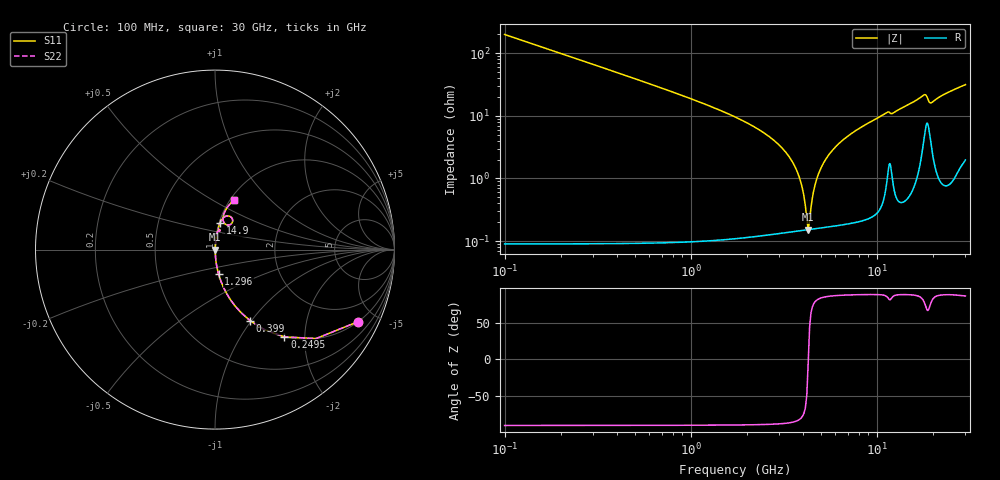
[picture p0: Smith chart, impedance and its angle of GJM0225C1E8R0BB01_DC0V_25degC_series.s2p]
!Murata Part Number: GJM0225C1E8R0BB01
!These Parameters are Measured in Series Mode Connection
!  o--ll--o
!Port1  Port2
!  o------o
!Operation Temp=25[degC], DC Bias Voltage=0[V]
!Freq. Start=100[MHz] Stop=30[GHz], 401[Steps]
!Data Generated on Feb 1, 2023
# Hz S RI R 50
!Freq.(Hz) S11(Real) S11(Imag) S21(Real) S21(Imag) S12(Real) S12(Imag) S22(Real) S22(Imag)
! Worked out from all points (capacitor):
!   401 points, 100 MHz to 30 GHz, reference 50 ohm
!   read as one part in series: C = 8 pF near 249.5 MHz
!   lowest |Z| = 153 mohm at 4.286 GHz (marker M1)
!   series resonance near 4.292 GHz, so ESL is about 170 pH
!   S11 on the Smith chart (normalised r, x): 100 MHz: 1.00, -3.98; 249.5 MHz: 1.00, -1.59; 399 MHz: 1.00, -0.99; 1.296 GHz: 1.00, -0.28; 14.9 GHz: 1.01, +0.30; 30 GHz: 1.04, +0.63
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1e8  0.798 -0.4013  0.202 0.4013  0.202 0.4013  0.798 -0.4013
2.495e8  0.3872 -0.4865  0.6128 0.4865  0.6128 0.4865  0.3872 -0.4865
3.99e8  0.1968 -0.3966  0.8032 0.3966  0.8032 0.3966  0.1968 -0.3966
6.98e8  0.0722 -0.2571  0.9278 0.2571  0.9278 0.2571  0.0722 -0.2571
1.296e9  0.02 -0.1365  0.98 0.1365  0.98 0.1365  0.02 -0.1365
3.46375e9  0.00179 -0.0199  0.9982 0.0199  0.9982 0.0199  0.00179 -0.0199
3.8375e9  0.00156 -0.0103  0.9984 0.0103  0.9984 0.0103  0.00156 -0.0103
4.21125e9  0.00151 -0.00175  0.9985 0.00175  0.9985 0.00175  0.00151 -0.00175
4.286e9  0.00152 -0.000127  0.9985 0.000127  0.9985 0.000127  0.00152 -0.000127
4.4355e9  0.00155 0.00304  0.9985 -0.00304  0.9985 -0.00304  0.00155 0.00304
4.7345e9  0.00166 0.00907  0.9983 -0.00907  0.9983 -0.00907  0.00166 0.00907
5.10825e9  0.00189 0.0161  0.9981 -0.0161  0.9981 -0.0161  0.00189 0.0161
5.781e9  0.0025 0.0279  0.9975 -0.0279  0.9975 -0.0279  0.0025 0.0279
6.75275e9  0.00373 0.0433  0.9963 -0.0433  0.9963 -0.0433  0.00373 0.0433
1.01165e10  0.0112 0.091  0.9888 -0.091  0.9888 -0.091  0.0112 0.091
1.49005e10  0.0273 0.1473  0.9727 -0.1473  0.9727 -0.1473  0.0273 0.1473
1.505e10  0.0282 0.1494  0.9718 -0.1494  0.9718 -0.1494  0.0282 0.1494
1.804e10  0.0821 0.1856  0.9179 -0.1856  0.9179 -0.1856  0.0821 0.1856
1.9236e10  0.0706 0.1369  0.9294 -0.1369  0.9294 -0.1369  0.0706 0.1369
2.005825e10  0.0475 0.155  0.9525 -0.155  0.9525 -0.155  0.0475 0.155
2.50665e10  0.065 0.2302  0.935 -0.2302  0.935 -0.2302  0.065 0.2302
3e10  0.1042 0.2757  0.8958 -0.2757  0.8958 -0.2757  0.1042 0.2757
